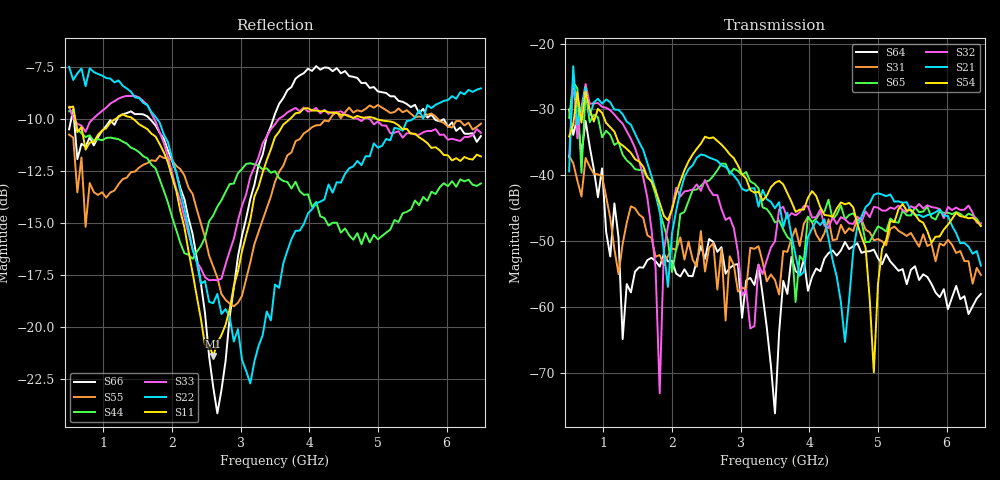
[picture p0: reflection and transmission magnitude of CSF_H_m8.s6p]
!Keysight Technologies,M9804A,MY58100912,A.14.10.03
!Date: Thursday, April 27, 2023 10:28:33
!Correction: S11(C  6-Port  )
!S12(C  6-Port  )
!S13(C  6-Port  )
!S14(C  6-Port  )
!S15(C  6-Port  )
!S16(C  6-Port  )
!S21(C  6-Port  )
!S22(C  6-Port  )
!S23(C  6-Port  )
!S24(C  6-Port  )
!S25(C  6-Port  )
!S26(C  6-Port  )
!S31(C  6-Port  )
!S32(C  6-Port  )
!S33(C  6-Port  )
!S34(C  6-Port  )
!S35(C  6-Port  )
!S36(C  6-Port  )
!S41(C  6-Port  )
!S42(C  6-Port  )
!S43(C  6-Port  )
!S44(C  6-Port  )
!S45(C  6-Port  )
!S46(C  6-Port  )
!S51(C  6-Port  )
!S52(C  6-Port  )
!S53(C  6-Port  )
!S54(C  6-Port  )
!S55(C  6-Port  )
!S56(C  6-Port  )
!S61(C  6-Port  )
!S62(C  6-Port  )
!S63(C  6-Port  )
!S64(C  6-Port  )
!S65(C  6-Port  )
!S66(C  6-Port  )
!S6P File: Measurement: :
# Hz S  RI  R 50
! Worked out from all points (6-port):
!   101 points, 500 MHz to 6.5 GHz, reference 50 ohm
!   strongest paths, dB at 500 MHz, 2 GHz, 3.5 GHz, 5 GHz, 6.5 GHz:
!     S54: -34.1, -45.2, -41.2, -56.6, -47.7
!     S21: -39.4, -48.8, -45.0, -42.7, -53.8
!     S32: -37.3, -45.0, -50.1, -44.9, -47.3
!     S65: -31.3, -54.7, -47.2, -47.8, -47.6
!     S31: -37.0, -51.2, -55.9, -49.7, -55.2
!     S64: -30.0, -53.1, -76.2, -52.6, -58.1
!   lowest |S11| = -21.4 dB at 2.6 GHz (marker M1), VSWR 1.19, Z = 42.4 + j2.21 ohm
!   |S11| at or under -10 dB: 589.5 MHz to 1.171 GHz (581.1 MHz wide, 66 % of centre); 1.437 GHz to 3.714 GHz (2.277 GHz wide, 88.4 % of centre); 4.983 GHz to end of sweep
